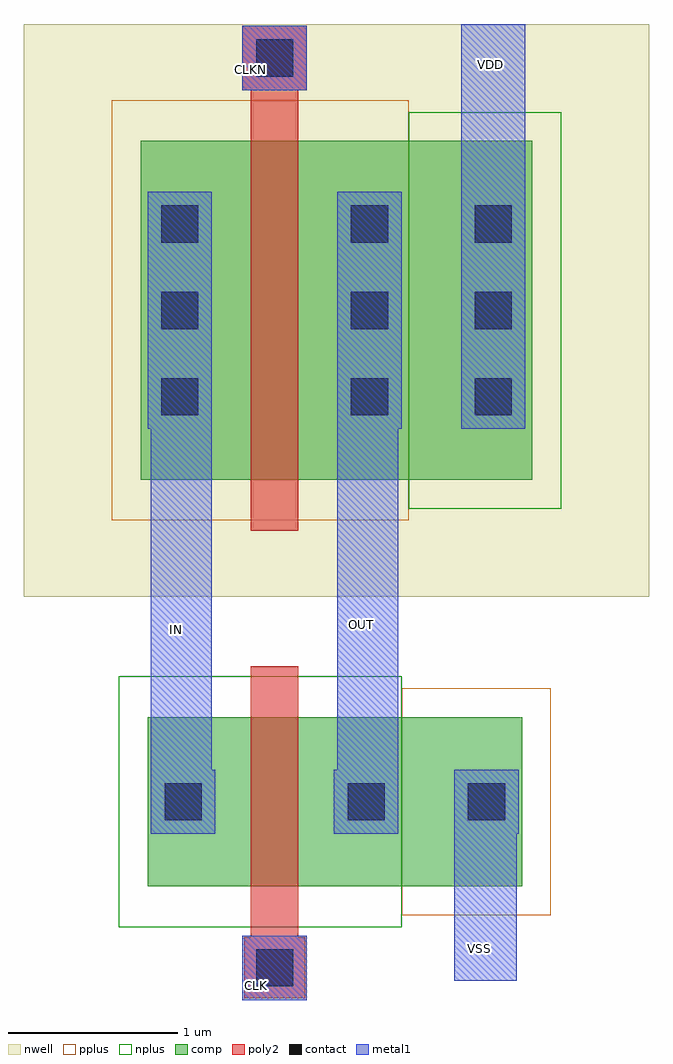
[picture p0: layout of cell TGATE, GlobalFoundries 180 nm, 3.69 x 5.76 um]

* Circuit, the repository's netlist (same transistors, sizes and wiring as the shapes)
** sch_path: /foss/designs/CAD2/TGATE.sch
.subckt TGATE CLK VDD VSS IN OUT CLKN
*.PININFO IN:I OUT:O CLKN:B CLK:B VDD:B VSS:B
M1 IN CLKN OUT VSS nfet_03v3 L=0.28u W=1u nf=1 m=1
M2 IN CLK OUT VDD pfet_03v3 L=0.28u W=2u nf=1 m=1
.ends

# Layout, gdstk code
import gdstk
lib = gdstk.Library(unit=1e-6, precision=5e-09)
def R(c, l, rs):  # rectangles x0, y0, x1, y1
    for r in rs: c.add(gdstk.rectangle(r[:2], r[2:], *l))
def A(c, l, x, y, w, h, nx, ny, dx, dy):  # array of equal rectangles
    R(c, l, [(x+i*dx, y+j*dy, x+i*dx+w, y+j*dy+h) for i in range(nx) for j in range(ny)])
nwell = (21, 0)
comp = (22, 0)
poly2 = (30, 0)
pplus = (31, 0)
nplus = (32, 0)
contact = (33, 0)
metal1 = (34, 0)

nfet = lib.new_cell('nfet')
R(nfet, comp, [(-0.42,0,0,1), (0,0,0.66,1), (0.66,0,1.08,1), (1.08,0,1.79,1)])
R(nfet, poly2, [(0.19,-0.3,0.47,1.3), (0.15,1.3,0.51,1.66)])
R(nfet, pplus, [(1.08,-0.17,1.96,1.17)])
R(nfet, nplus, [(-0.59,-0.24,1.08,1.24)])
R(nfet, contact, [(-0.32,0.39,-0.1,0.61), (0.76,0.39,0.98,0.61), (1.47,0.39,1.69,0.61), (0.22,1.37,0.44,1.59)])
R(nfet, metal1, [(-0.4,0.31,-0.02,0.69), (0.68,0.31,1.06,0.69), (1.39,0.31,1.77,0.69), (0.14,1.29,0.52,1.67)])

pfet = lib.new_cell('pfet')
R(pfet, nwell, [(-1.15,-0.69,2.54,2.69)])
R(pfet, comp, [(-0.46,0,0,2), (0,0,0.66,2), (0.66,0,1.12,2), (1.12,0,1.85,2)])
R(pfet, poly2, [(0.19,-0.3,0.47,2.3), (0.14,2.3,0.52,2.68)])
R(pfet, pplus, [(-0.63,-0.24,1.12,2.24)])
R(pfet, nplus, [(1.12,-0.17,2.02,2.17)])
A(pfet, contact, -0.34, 0.38, 0.22, 0.22, 1, 3, 0, 0.51)
A(pfet, contact, 0.78, 0.38, 0.22, 0.22, 1, 3, 0, 0.51)
A(pfet, contact, 1.51, 0.38, 0.22, 0.22, 1, 3, 0, 0.51)
R(pfet, contact, [(0.22,2.38,0.44,2.6)])
R(pfet, metal1, [(-0.42,0.3,-0.04,1.7), (0.7,0.3,1.08,1.7), (1.43,0.3,1.81,1.7), (0.14,2.3,0.52,2.68)])

tgate = lib.new_cell('TGATE')
R(tgate, metal1, [(1.185,-0.885,1.555,-0.02), (-0.605,0.36,-0.245,2.42), (0.495,0.36,0.855,2.37), (1.225,3.77,1.605,4.76)])
tgate.add(gdstk.Reference(nfet, (-0.205,0.67), x_reflection=True))
tgate.add(gdstk.Reference(pfet, (-0.205,2.07)))
tgate.add(gdstk.Label('CLKN', (-0.015,4.49), layer=34, texttype=10))
tgate.add(gdstk.Label('CLK', (0.015,-0.915), layer=34, texttype=10))
tgate.add(gdstk.Label('IN', (-0.455,1.185), layer=34, texttype=10))
tgate.add(gdstk.Label('OUT', (0.64,1.215), layer=34, texttype=10))
tgate.add(gdstk.Label('VSS', (1.335,-0.695), layer=34, texttype=10))
tgate.add(gdstk.Label('VDD', (1.4,4.52), layer=34, texttype=10))

lib.write_gds('TGATE.gds')
